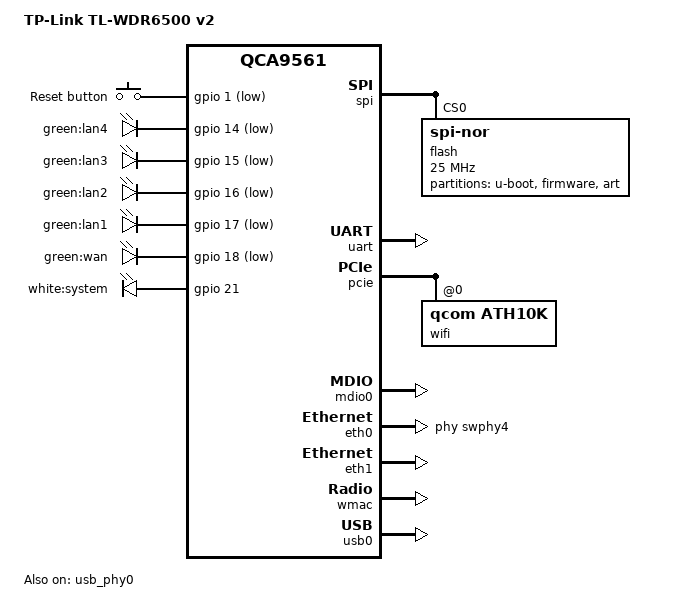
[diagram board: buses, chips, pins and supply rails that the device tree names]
// SPDX-License-Identifier: GPL-2.0-or-later OR MIT

#include "qca956x.dtsi"

#include <dt-bindings/gpio/gpio.h>
#include <dt-bindings/input/input.h>

/ {
	compatible = "tplink,tl-wdr6500-v2", "qca,qca9561";
	model = "TP-Link TL-WDR6500 v2";

	aliases {
		led-boot = &led_system;
		led-failsafe = &led_system;
		led-running = &led_system;
		led-upgrade = &led_system;
		label-mac-device = &eth1;
	};

	keys {
		compatible = "gpio-keys";

		reset {
			label = "Reset button";
			linux,code = <KEY_RESTART>;
			gpios = <&gpio 1 GPIO_ACTIVE_LOW>;
		};
	};

	leds {
		compatible = "gpio-leds";

		lan4 {
			label = "green:lan4";
			gpios = <&gpio 14 GPIO_ACTIVE_LOW>;
		};

		lan3 {
			label = "green:lan3";
			gpios = <&gpio 15 GPIO_ACTIVE_LOW>;
		};

		lan2 {
			label = "green:lan2";
			gpios = <&gpio 16 GPIO_ACTIVE_LOW>;
		};

		lan1 {
			label = "green:lan1";
			gpios = <&gpio 17 GPIO_ACTIVE_LOW>;
		};

		wan {
			label = "green:wan";
			gpios = <&gpio 18 GPIO_ACTIVE_LOW>;
		};

		led_system: system {
			label = "white:system";
			gpios = <&gpio 21 GPIO_ACTIVE_HIGH>;
			default-state = "on";
		};
	};
};

&spi {
	status = "okay";

	flash@0 {
		compatible = "jedec,spi-nor";
		reg = <0>;
		spi-max-frequency = <25000000>;

		partitions {
			compatible = "fixed-partitions";
			#address-cells = <1>;
			#size-cells = <1>;

			partition@0 {
				label = "u-boot";
				reg = <0x000000 0x010000>;
				read-only;

				nvmem-layout {
					compatible = "fixed-layout";
					#address-cells = <1>;
					#size-cells = <1>;

					macaddr_uboot_fc00: macaddr@fc00 {
						compatible = "mac-base";
						reg = <0xfc00 0x6>;
						#nvmem-cell-cells = <1>;
					};
				};
			};

			partition@10000 {
				compatible = "tplink,firmware";
				label = "firmware";
				reg = <0x010000 0x7e0000>;
			};

			partition@7f0000 {
				label = "art";
				reg = <0x7f0000 0x010000>;
				read-only;

				nvmem-layout {
					compatible = "fixed-layout";
					#address-cells = <1>;
					#size-cells = <1>;

					calibration_ath9k: calibration@1000 {
						reg = <0x1000 0x440>;
					};

					calibration_ath10k: calibration@5000 {
						reg = <0x5000 0x844>;
					};
				};
			};
		};
	};
};

&uart {
	status = "okay";
};

&pcie {
	status = "okay";

	wifi@0,0 {
		compatible = "qcom,ath10k";
		reg = <0 0 0 0 0>;

		nvmem-cells = <&macaddr_uboot_fc00 (-2)>, <&calibration_ath10k>;
		nvmem-cell-names = "mac-address", "calibration";
	};
};

&mdio0 {
	status = "okay";
};

&eth0 {
	status = "okay";

	phy-handle = <&swphy4>;

	nvmem-cells = <&macaddr_uboot_fc00 1>;
	nvmem-cell-names = "mac-address";
};

&eth1 {
	status = "okay";

	nvmem-cells = <&macaddr_uboot_fc00 0>;
	nvmem-cell-names = "mac-address";
};

&wmac {
	status = "okay";

	nvmem-cells = <&macaddr_uboot_fc00 (-1)>, <&calibration_ath9k>;
	nvmem-cell-names = "mac-address", "calibration";
};

&usb0 {
	status = "okay";
};

&usb_phy0 {
	status = "okay";
};
